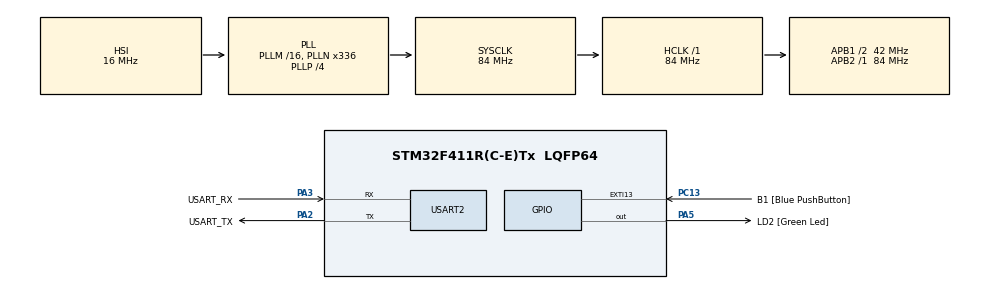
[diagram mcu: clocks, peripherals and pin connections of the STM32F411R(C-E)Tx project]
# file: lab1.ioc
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ADC1.Channel-1\#ChannelRegularConversion=ADC_CHANNEL_TEMPSENSOR
ADC1.ContinuousConvMode=ENABLE
ADC1.NbrOfConversionFlag=1
ADC1.Rank-1\#ChannelRegularConversion=1
ADC1.SamplingTime-1\#ChannelRegularConversion=ADC_SAMPLETIME_3CYCLES
ADC1.master=1
FREERTOS.Tasks01=defaultTask01,24,128,StartDefaultTask,Default,NULL,Dynamic,NULL,NULL;myTask02,8,128,StartTask02,Default,NULL,Dynamic,NULL,NULL
Mcu.Family=STM32F4
Mcu.Name=STM32F411R(C-E)Tx
Mcu.Package=LQFP64
NVIC.ADC_IRQn=true\:5\:0\:false\:false\:true\:true\:true\:true\:true
NVIC.EXTI15_10_IRQn=true\:5\:0\:false\:false\:true\:true\:true\:true\:true
NVIC.PriorityGroup=NVIC_PRIORITYGROUP_4
NVIC.TIM1_TRG_COM_TIM11_IRQn=true\:15\:0\:false\:false\:true\:false\:false\:true\:true
NVIC.TimeBase=TIM1_TRG_COM_TIM11_IRQn
NVIC.TimeBaseIP=TIM11
PA13.GPIO_Label=TMS
PA13.Mode=Serial_Wire
PA13.Signal=SYS_JTMS-SWDIO
PA14.GPIO_Label=TCK
PA14.Mode=Serial_Wire
PA14.Signal=SYS_JTCK-SWCLK
PA2.GPIO_Label=USART_TX
PA2.Mode=Asynchronous
PA2.Signal=USART2_TX
PA3.GPIO_Label=USART_RX
PA3.Mode=Asynchronous
PA3.Signal=USART2_RX
PA5.GPIO_Label=LD2 [Green Led]
PA5.Signal=GPIO_Output
PB3.GPIO_Label=SWO
PB3.Signal=SYS_JTDO-SWO
PC13-ANTI_TAMP.GPIO_Label=B1 [Blue PushButton]
PC13-ANTI_TAMP.GPIO_ModeDefaultEXTI=GPIO_MODE_IT_FALLING
PC13-ANTI_TAMP.Signal=GPXTI13
PC14-OSC32_IN.Mode=LSE-External-Oscillator
PC14-OSC32_IN.Signal=RCC_OSC32_IN
PC15-OSC32_OUT.Mode=LSE-External-Oscillator
PC15-OSC32_OUT.Signal=RCC_OSC32_OUT
PH0\ -\ OSC_IN.Mode=HSE-External-Clock-Source
PH0\ -\ OSC_IN.Signal=RCC_OSC_IN
PH1\ -\ OSC_OUT.Mode=HSE-External-Clock-Source
PH1\ -\ OSC_OUT.Signal=RCC_OSC_OUT
ProjectManager.HeapSize=0x200
ProjectManager.StackSize=0x400
ProjectManager.TargetToolchain=Makefile
RCC.48MHZClocksFreq_Value=84000000
RCC.AHBFreq_Value=84000000
RCC.APB1CLKDivider=RCC_HCLK_DIV2
RCC.APB1Freq_Value=42000000
RCC.APB1TimFreq_Value=84000000
RCC.APB2Freq_Value=84000000
RCC.APB2TimFreq_Value=84000000
RCC.CortexFreq_Value=84000000
RCC.FLatency-AdvancedSettings=FLASH_LATENCY_2
RCC.HCLKFreq_Value=84000000
RCC.HSE_VALUE=8000000
RCC.HSI_VALUE=16000000
RCC.PLLN=336
RCC.PLLP=RCC_PLLP_DIV4
RCC.SYSCLKFreq_VALUE=84000000
RCC.SYSCLKSource=RCC_SYSCLKSOURCE_PLLCLK
RCC.VCOOutputFreq_Value=336000000
USART2.VirtualMode=VM_ASYNC
VP_ADC1_TempSens_Input.Mode=IN-TempSens
VP_FREERTOS_VS_CMSIS_V2.Mode=CMSIS_V2
VP_SYS_VS_tim11.Mode=TIM11
board=NUCLEO-F411RE

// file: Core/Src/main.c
/* USER CODE BEGIN Header */
/**
  ******************************************************************************
  * @file           : main.c
  * @brief          : Main program body
  ******************************************************************************
  * @attention
  *
  * Copyright (c) 2024 STMicroelectronics.
  * All rights reserved.
  *
  * This software is licensed under terms that can be found in the LICENSE file
  * in the root directory of this software component.
  * If no LICENSE file comes with this software, it is provided AS-IS.
  *
  ******************************************************************************
  */
/* USER CODE END Header */
#include "main.h"
#include "cmsis_os.h"

/* USER CODE BEGIN Includes */
#include <stdio.h>
#define PUTCHAR_PROTOTYPE int __io_putchar(int ch)
/* USER CODE END Includes */

ADC_HandleTypeDef hadc1;

UART_HandleTypeDef huart2;

/* Definitions for defaultTask01 */
osThreadId_t defaultTask01Handle;
const osThreadAttr_t defaultTask01_attributes = {
  .name = "defaultTask01",
  .stack_size = 128 * 4,
  .priority = (osPriority_t) osPriorityNormal,
};
/* Definitions for myTask02 */
osThreadId_t myTask02Handle;
const osThreadAttr_t myTask02_attributes = {
  .name = "myTask02",
  .stack_size = 128 * 4,
  .priority = (osPriority_t) osPriorityLow,
};

void SystemClock_Config(void);
static void MX_GPIO_Init(void);
static void MX_USART2_UART_Init(void);
static void MX_ADC1_Init(void);
void StartDefaultTask(void *argument);
void StartTask02(void *argument);

int main(void)
{

  /* MCU Configuration--------------------------------------------------------*/

  /* Reset of all peripherals, Initializes the Flash interface and the Systick. */
  HAL_Init();

  /* Configure the system clock */
  SystemClock_Config();

  /* Initialize all configured peripherals */
  MX_GPIO_Init();
  MX_USART2_UART_Init();
  MX_ADC1_Init();

  /* Init scheduler */
  osKernelInitialize();

  /* Create the thread(s) */
  /* creation of defaultTask01 */
  defaultTask01Handle = osThreadNew(StartDefaultTask, NULL, &defaultTask01_attributes);

  /* creation of myTask02 */
  myTask02Handle = osThreadNew(StartTask02, NULL, &myTask02_attributes);

  /* Start scheduler */
  osKernelStart();

  /* We should never get here as control is now taken by the scheduler */

  /* Infinite loop */
  while (1)
  {

  }
}

void SystemClock_Config(void)
{
  RCC_OscInitTypeDef RCC_OscInitStruct = {0};
  RCC_ClkInitTypeDef RCC_ClkInitStruct = {0};

  /** Configure the main internal regulator output voltage
  */
  __HAL_RCC_PWR_CLK_ENABLE();
  __HAL_PWR_VOLTAGESCALING_CONFIG(PWR_REGULATOR_VOLTAGE_SCALE1);

  /** Initializes the RCC Oscillators according to the specified parameters
  * in the RCC_OscInitTypeDef structure.
  */
  RCC_OscInitStruct.OscillatorType = RCC_OSCILLATORTYPE_HSI;
  RCC_OscInitStruct.HSIState = RCC_HSI_ON;
  RCC_OscInitStruct.HSICalibrationValue = RCC_HSICALIBRATION_DEFAULT;
  RCC_OscInitStruct.PLL.PLLState = RCC_PLL_ON;
  RCC_OscInitStruct.PLL.PLLSource = RCC_PLLSOURCE_HSI;
  RCC_OscInitStruct.PLL.PLLM = 16;
  RCC_OscInitStruct.PLL.PLLN = 336;
  RCC_OscInitStruct.PLL.PLLP = RCC_PLLP_DIV4;
  RCC_OscInitStruct.PLL.PLLQ = 4;
  if (HAL_RCC_OscConfig(&RCC_OscInitStruct) != HAL_OK)
  {
    Error_Handler();
  }

  /** Initializes the CPU, AHB and APB buses clocks
  */
  RCC_ClkInitStruct.ClockType = RCC_CLOCKTYPE_HCLK|RCC_CLOCKTYPE_SYSCLK
                              |RCC_CLOCKTYPE_PCLK1|RCC_CLOCKTYPE_PCLK2;
  RCC_ClkInitStruct.SYSCLKSource = RCC_SYSCLKSOURCE_PLLCLK;
  RCC_ClkInitStruct.AHBCLKDivider = RCC_SYSCLK_DIV1;
  RCC_ClkInitStruct.APB1CLKDivider = RCC_HCLK_DIV2;
  RCC_ClkInitStruct.APB2CLKDivider = RCC_HCLK_DIV1;

  if (HAL_RCC_ClockConfig(&RCC_ClkInitStruct, FLASH_LATENCY_2) != HAL_OK)
  {
    Error_Handler();
  }
}

static void MX_ADC1_Init(void)
{

  ADC_ChannelConfTypeDef sConfig = {0};

  /** Configure the global features of the ADC (Clock, Resolution, Data Alignment and number of conversion)
  */
  hadc1.Instance = ADC1;
  hadc1.Init.ClockPrescaler = ADC_CLOCK_SYNC_PCLK_DIV4;
  hadc1.Init.Resolution = ADC_RESOLUTION_12B;
  hadc1.Init.ScanConvMode = DISABLE;
  hadc1.Init.ContinuousConvMode = ENABLE;
  hadc1.Init.DiscontinuousConvMode = DISABLE;
  hadc1.Init.ExternalTrigConvEdge = ADC_EXTERNALTRIGCONVEDGE_NONE;
  hadc1.Init.ExternalTrigConv = ADC_SOFTWARE_START;
  hadc1.Init.DataAlign = ADC_DATAALIGN_RIGHT;
  hadc1.Init.NbrOfConversion = 1;
  hadc1.Init.DMAContinuousRequests = DISABLE;
  hadc1.Init.EOCSelection = ADC_EOC_SINGLE_CONV;
  if (HAL_ADC_Init(&hadc1) != HAL_OK)
  {
    Error_Handler();
  }

  /** Configure for the selected ADC regular channel its corresponding rank in the sequencer and its sample time.
  */
  sConfig.Channel = ADC_CHANNEL_TEMPSENSOR;
  sConfig.Rank = 1;
  sConfig.SamplingTime = ADC_SAMPLETIME_3CYCLES;
  if (HAL_ADC_ConfigChannel(&hadc1, &sConfig) != HAL_OK)
  {
    Error_Handler();
  }

}

static void MX_USART2_UART_Init(void)
{

  huart2.Instance = USART2;
  huart2.Init.BaudRate = 115200;
  huart2.Init.WordLength = UART_WORDLENGTH_8B;
  huart2.Init.StopBits = UART_STOPBITS_1;
  huart2.Init.Parity = UART_PARITY_NONE;
  huart2.Init.Mode = UART_MODE_TX_RX;
  huart2.Init.HwFlowCtl = UART_HWCONTROL_NONE;
  huart2.Init.OverSampling = UART_OVERSAMPLING_16;
  if (HAL_UART_Init(&huart2) != HAL_OK)
  {
    Error_Handler();
  }

}

static void MX_GPIO_Init(void)
{
  GPIO_InitTypeDef GPIO_InitStruct = {0};

  /* GPIO Ports Clock Enable */
  __HAL_RCC_GPIOC_CLK_ENABLE();
  __HAL_RCC_GPIOH_CLK_ENABLE();
  __HAL_RCC_GPIOA_CLK_ENABLE();
  __HAL_RCC_GPIOB_CLK_ENABLE();

  /*Configure GPIO pin Output Level */
  HAL_GPIO_WritePin(LD2_GPIO_Port, LD2_Pin, GPIO_PIN_RESET);

  /*Configure GPIO pin : B1_Pin */
  GPIO_InitStruct.Pin = B1_Pin;
  GPIO_InitStruct.Mode = GPIO_MODE_IT_FALLING;
  GPIO_InitStruct.Pull = GPIO_NOPULL;
  HAL_GPIO_Init(B1_GPIO_Port, &GPIO_InitStruct);

  /*Configure GPIO pin : LD2_Pin */
  GPIO_InitStruct.Pin = LD2_Pin;
  GPIO_InitStruct.Mode = GPIO_MODE_OUTPUT_PP;
  GPIO_InitStruct.Pull = GPIO_NOPULL;
  GPIO_InitStruct.Speed = GPIO_SPEED_FREQ_LOW;
  HAL_GPIO_Init(LD2_GPIO_Port, &GPIO_InitStruct);

  /* EXTI interrupt init*/
  HAL_NVIC_SetPriority(EXTI15_10_IRQn, 5, 0);
  HAL_NVIC_EnableIRQ(EXTI15_10_IRQn);

}

/* USER CODE BEGIN 4 */
PUTCHAR_PROTOTYPE
{
/* Place your implementation of fputc here */
/* e.g. write a character to the USART1 and Loop until the end of
transmission */
HAL_UART_Transmit(&huart2, (uint8_t *)&ch, 1, 0xFFFF);
return ch;
}
/* USER CODE END 4 */

void StartDefaultTask(void *argument)
{
  /* USER CODE BEGIN 5 */
  /* Infinite loop */
  for(;;)
  {
    printf("Task01 running...\r\n");
    osDelay(5000);
  }
  /* USER CODE END 5 */
}

void StartTask02(void *argument)
{
  /* USER CODE BEGIN StartTask02 */
  uint32_t ADC_Value =0;
  uint32_t temp = 0;
  HAL_ADC_Start(&hadc1);
  HAL_ADC_PollForConversion(&hadc1, 100);
  /* Infinite loop */
  for(;;)
  {
    ADC_Value = HAL_ADC_GetValue(&hadc1);
    printf("Task02 running...\r\n");
    printf("temp b4 conv %ld\r\n", ADC_Value);
    temp = ((ADC_Value/4095)*3.3) + 25;
    printf("temp aft con %ld \r\n", temp);
    osDelay(5000);
  }
  /* USER CODE END StartTask02 */
}

void HAL_TIM_PeriodElapsedCallback(TIM_HandleTypeDef *htim)
{
  if (htim->Instance == TIM11) {
    HAL_IncTick();
  }
}

void HAL_GPIO_EXTI_Callback(uint16_t GPIO_PIN){
	if(GPIO_PIN == B1_Pin){
  	HAL_GPIO_TogglePin(LD2_GPIO_Port,LD2_Pin);
  	}
  }
void Error_Handler(void)
{
  __disable_irq();
  while (1)
  {
  }
}
